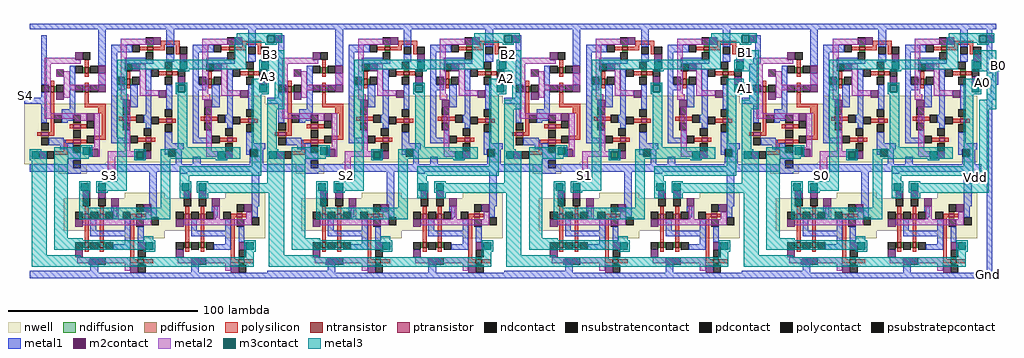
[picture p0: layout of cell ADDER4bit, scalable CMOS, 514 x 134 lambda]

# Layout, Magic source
magic
tech scmos
<< nwell >>
rect 125 68 623 92
rect 125 64 168 68
rect 174 67 294 68
rect 297 67 418 68
rect 422 67 623 68
rect 174 64 293 67
rect 300 64 418 67
rect 423 65 623 67
rect 422 64 623 65
rect 125 61 623 64
rect 125 60 137 61
<< metal1 >>
rect 632 133 635 134
rect 134 102 137 128
rect 254 116 256 120
rect 253 104 255 108
rect 259 102 262 128
rect 379 117 381 120
rect 378 104 380 107
rect 384 102 387 128
rect 509 124 513 128
rect 504 117 506 120
rect 510 116 513 124
rect 509 113 513 116
rect 507 102 512 113
rect 632 111 635 131
rect 632 108 638 111
rect 635 105 638 108
rect 628 102 631 105
rect 634 102 638 105
rect 125 95 128 98
rect 125 94 129 95
rect 507 94 510 102
rect 634 97 637 102
rect 632 94 637 97
rect 125 93 128 94
rect 125 92 129 93
rect 623 50 628 57
rect 632 0 635 94
<< metal2 >>
rect 169 53 173 67
rect 294 53 297 64
rect 419 53 422 64
rect 544 53 548 67
<< metal3 >>
rect 637 109 639 114
rect 634 105 637 108
rect 503 98 507 103
rect 632 94 637 97
use ADDER1bit  ADDER1bit_1
transform 1 0 170 0 1 60
box -42 -60 92 74
use ADDER1bit  ADDER1bit_2
transform 1 0 295 0 1 60
box -42 -60 92 74
use ADDER1bit  ADDER1bit_3
transform 1 0 420 0 1 60
box -42 -60 92 74
use ADDER1bit  ADDER1bit_4
transform 1 0 545 0 1 60
box -42 -60 92 74
<< labels >>
rlabel metal1 633 2 633 2 8 Gnd
rlabel space 4 93 4 93 3 S4
rlabel metal1 626 53 626 53 1 Vdd
rlabel metal2 545 54 545 54 1 S0
rlabel metal2 170 54 170 54 1 S3
rlabel metal2 420 54 420 54 1 S1
rlabel metal2 295 54 295 54 1 S2
rlabel metal3 638 112 638 112 7 B0
rlabel metal1 630 103 630 103 1 A0
rlabel metal3 505 100 505 100 1 A1
rlabel metal1 379 105 379 105 1 A2
rlabel metal1 380 118 380 118 1 B2
rlabel metal1 255 118 255 118 1 B3
rlabel metal1 254 106 254 106 1 A3
rlabel metal1 126 96 126 96 1 S4
rlabel metal1 505 119 505 119 1 B1
<< end >>

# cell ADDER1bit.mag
magic
tech scmos
<< nwell >>
rect -3 1 12 32
rect 28 4 36 8
rect 28 3 37 4
rect 38 1 54 36
rect 21 -22 25 -19
rect 26 -35 37 -18
rect 28 -39 29 -35
<< metal1 >>
rect -42 71 92 74
rect -6 58 -2 71
rect 30 70 34 71
rect 73 62 77 66
rect -42 32 -36 35
rect 35 0 38 8
rect 78 4 81 8
rect 44 0 48 4
rect 74 0 81 4
rect -42 -4 84 0
rect 21 -22 25 -4
rect 37 -5 41 -4
rect 75 -22 79 -4
rect -11 -53 -7 -50
rect -42 -57 -10 -56
rect -42 -60 92 -57
<< m2contact >>
rect 87 64 91 68
<< metal2 >>
rect -1 4 9 7
<< m3contact >>
rect 83 64 87 68
<< metal3 >>
rect 67 68 91 69
rect 67 67 83 68
rect 66 64 83 67
rect 87 64 91 68
rect 66 55 72 64
rect 82 63 88 64
rect 4 50 72 55
rect -41 -48 -33 7
rect -29 3 -11 9
rect -29 -39 -22 3
rect 4 -9 9 50
rect 80 49 92 60
rect 36 9 41 38
rect 75 37 84 45
rect 36 8 69 9
rect -16 -23 -11 -9
rect -6 -14 9 -9
rect 27 3 69 8
rect 27 -23 32 3
rect 75 -1 80 37
rect 87 34 92 49
rect 37 -6 80 -1
rect 83 29 92 34
rect 37 -18 42 -6
rect 83 -10 88 29
rect 47 -15 88 -10
rect 47 -18 52 -15
rect -16 -29 32 -23
rect -29 -40 -14 -39
rect 18 -40 23 -38
rect -29 -45 23 -40
rect -41 -49 -15 -48
rect 71 -49 76 -41
rect -41 -54 76 -49
use OR  OR_0
transform -1 0 -13 0 -1 10
box -11 -49 29 15
use XOR  XOR_1
transform 0 1 13 1 0 12
box -11 -12 59 29
use XOR  XOR_0
transform 0 1 56 1 0 12
box -11 -12 59 29
use AND  AND_0
transform -1 0 -7 0 -1 -24
box -36 -15 17 33
use AND  AND_1
transform -1 0 46 0 -1 -24
box -36 -15 17 33
<< labels >>
rlabel metal3 88 57 88 57 1 in2
rlabel metal1 -40 34 -40 34 3 Cout
rlabel metal2 1 5 1 5 1 Sout
rlabel metal1 86 72 86 72 5 Gnd
rlabel metal3 87 66 87 66 1 CIn
rlabel metal1 78 -59 78 -59 8 Gnd
rlabel metal1 81 -2 81 -2 1 Vdd
<< end >>

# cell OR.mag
magic
tech scmos
<< nwell >>
rect -1 10 14 15
rect -11 -22 29 10
<< ntransistor >>
rect -2 -31 0 -28
rect 16 -31 18 -28
rect -2 -41 0 -38
<< ptransistor >>
rect 2 -3 6 -1
rect 19 -7 23 -5
rect 2 -11 6 -9
<< ndiffusion >>
rect -3 -31 -2 -28
rect 0 -31 1 -28
rect 15 -31 16 -28
rect 18 -31 19 -28
rect -3 -41 -2 -38
rect 0 -41 1 -38
<< pdiffusion >>
rect 2 -1 6 0
rect 2 -4 6 -3
rect 19 -5 23 -4
rect 2 -9 6 -8
rect 2 -12 6 -11
rect 19 -8 23 -7
<< ndcontact >>
rect -7 -32 -3 -28
rect 1 -32 5 -28
rect 11 -32 15 -28
rect 19 -32 23 -28
rect -7 -42 -3 -38
rect 1 -42 5 -38
<< pdcontact >>
rect 2 0 6 4
rect 2 -8 6 -4
rect 19 -4 23 0
rect 2 -16 6 -12
rect 19 -12 23 -8
<< psubstratepcontact >>
rect 11 -40 15 -36
<< nsubstratencontact >>
rect 2 8 6 12
<< polysilicon >>
rect 9 3 16 5
rect 9 -1 11 3
rect -11 -5 -5 -3
rect -1 -3 2 -1
rect 6 -3 11 -1
rect -11 -17 -9 -5
rect 16 -7 19 -5
rect 23 -7 25 -5
rect -1 -11 2 -9
rect 6 -11 8 -9
rect -11 -20 -7 -17
rect -11 -22 0 -20
rect -2 -28 0 -22
rect 16 -28 18 -7
rect -2 -33 0 -31
rect 16 -34 18 -31
rect -2 -38 0 -36
rect -2 -45 0 -41
<< polycontact >>
rect 16 3 20 7
rect -5 -5 -1 -1
rect -5 -13 -1 -9
rect 12 -16 16 -12
rect -3 -49 1 -45
<< metal1 >>
rect 2 12 9 15
rect 6 8 9 12
rect 2 4 9 8
rect 6 2 9 4
rect 6 0 13 2
rect 6 -1 19 0
rect 10 -3 19 -1
rect 11 -4 19 -3
rect 9 -13 12 -12
rect 6 -16 12 -13
rect 5 -19 12 -16
rect -11 -38 -7 -32
rect 5 -42 8 -19
rect 20 -28 23 -12
rect -11 -49 -7 -42
<< m2contact >>
rect -7 2 -3 6
rect 20 3 24 7
rect -5 -17 -1 -13
rect -11 -32 -7 -28
rect -11 -42 -7 -38
rect 11 -28 15 -24
rect 1 -49 5 -45
<< metal2 >>
rect -8 2 -7 6
rect -3 5 -2 6
rect -8 1 -3 2
rect -8 -17 -5 1
rect -1 -14 5 -13
rect -1 -17 21 -14
rect 8 -29 11 -25
rect -7 -32 11 -29
rect -11 -38 -7 -32
rect 8 -36 11 -32
rect 8 -39 15 -36
rect 11 -40 15 -39
rect 18 -43 21 -17
rect 2 -45 21 -43
rect 5 -46 21 -45
<< m3contact >>
rect -3 1 1 5
rect 24 3 28 7
<< metal3 >>
rect 23 7 29 8
rect -4 5 2 6
rect -4 1 -3 5
rect 1 1 2 5
rect 23 3 24 7
rect 28 3 29 7
rect 23 2 29 3
rect -4 0 2 1
<< labels >>
rlabel metal1 22 -24 22 -24 1 out
rlabel m3contact 26 5 26 5 6 in1
rlabel metal1 4 13 4 13 5 Vdd
rlabel metal1 -9 -46 -9 -46 2 Gnd
rlabel m3contact -1 3 -1 3 1 in2
<< end >>

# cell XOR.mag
magic
tech scmos
<< nwell >>
rect -11 -12 24 26
<< ntransistor >>
rect 35 17 37 20
rect 48 7 50 10
rect 30 -4 33 -2
<< ptransistor >>
rect 10 17 12 20
rect 0 6 2 9
rect 11 -6 13 -3
<< ndiffusion >>
rect 34 17 35 20
rect 37 17 38 20
rect 47 7 48 10
rect 50 7 51 10
rect 30 -2 33 -1
rect 30 -5 33 -4
<< pdiffusion >>
rect 9 17 10 20
rect 12 17 13 20
rect -1 6 0 9
rect 2 6 3 9
rect 10 -6 11 -3
rect 13 -6 14 -3
<< ndcontact >>
rect 30 16 34 20
rect 38 16 42 20
rect 43 6 47 10
rect 51 6 55 10
rect 30 -1 34 3
rect 30 -9 34 -5
<< pdcontact >>
rect 5 16 9 20
rect 13 16 17 20
rect -5 5 -1 9
rect 3 5 7 9
rect 6 -6 10 -2
rect 14 -6 18 -2
<< psubstratepcontact >>
rect 46 17 50 21
<< nsubstratencontact >>
rect -8 18 -4 22
<< polysilicon >>
rect 10 20 12 22
rect 35 20 37 23
rect 46 22 53 24
rect 10 13 12 17
rect 35 13 37 17
rect 51 16 53 22
rect 48 14 53 16
rect 0 9 2 11
rect 48 10 50 14
rect 0 2 2 6
rect 48 3 50 7
rect 11 -3 13 1
rect 28 -4 30 -2
rect 33 -4 37 -2
rect 11 -8 13 -6
<< polycontact >>
rect 34 23 38 27
rect 46 24 50 28
rect 9 9 13 13
rect 34 9 38 13
rect -1 -2 3 2
rect 10 1 14 5
rect 47 -1 51 3
rect 37 -5 41 -1
<< metal1 >>
rect -4 20 -1 26
rect -4 18 5 20
rect -7 16 5 18
rect 17 17 30 20
rect 42 17 46 21
rect 50 17 59 21
rect 7 6 38 9
rect 41 6 43 10
rect 10 5 14 6
rect 18 -2 30 2
rect -1 -5 6 -2
rect -1 -9 2 -5
rect 41 -5 44 6
rect 27 -9 30 -5
rect 47 -9 51 -1
rect -1 -12 51 -9
<< m2contact >>
rect 30 23 34 27
rect 42 24 46 28
rect 23 13 27 17
rect 51 10 55 14
rect -9 5 -5 9
rect 37 -1 41 3
rect 18 -6 22 -2
<< metal2 >>
rect 24 6 27 13
rect 24 3 41 6
rect -8 -2 -5 1
rect -8 -5 18 -2
rect 22 -4 25 -3
rect 51 -4 54 10
rect 22 -7 54 -4
<< m3contact >>
rect 26 23 30 27
rect 38 24 42 28
rect -9 1 -5 5
<< metal3 >>
rect 37 28 43 29
rect 25 27 31 28
rect 25 23 26 27
rect 30 23 31 27
rect 37 24 38 28
rect 42 24 43 28
rect 37 23 43 24
rect 25 22 31 23
rect -10 5 -4 6
rect -10 1 -9 5
rect -5 1 -4 5
rect -10 0 -4 1
<< labels >>
rlabel metal1 -3 24 -3 24 5 Vdd
rlabel m3contact 27 25 27 25 5 in1
rlabel m3contact 40 26 40 26 5 in2
rlabel metal1 56 19 56 19 7 Gnd
rlabel m3contact -7 3 -7 3 3 out
<< end >>

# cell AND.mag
magic
tech scmos
<< nwell >>
rect -36 11 -15 15
rect -36 -6 17 11
rect -36 -9 -15 -6
<< ntransistor >>
rect -25 26 -22 28
rect -4 17 -2 20
rect 4 17 6 20
<< ptransistor >>
rect -24 2 -21 4
rect -4 2 -2 5
rect 4 2 6 5
<< ndiffusion >>
rect -25 28 -22 29
rect -25 25 -22 26
rect -5 17 -4 20
rect -2 17 -1 20
rect 3 17 4 20
rect 6 17 7 20
<< pdiffusion >>
rect -24 4 -21 5
rect -24 1 -21 2
rect -5 2 -4 5
rect -2 2 -1 5
rect 3 2 4 5
rect 6 2 7 5
<< ndcontact >>
rect -26 29 -22 33
rect -26 21 -22 25
rect -9 17 -5 21
rect -1 17 3 21
rect 7 17 11 21
<< pdcontact >>
rect -25 5 -21 9
rect -9 1 -5 5
rect -25 -3 -21 1
rect -1 1 3 5
rect 7 1 11 5
<< psubstratepcontact >>
rect -5 25 -1 29
<< nsubstratencontact >>
rect -33 4 -29 8
<< polysilicon >>
rect -30 26 -25 28
rect -22 26 -18 28
rect -20 4 -18 26
rect -4 20 -2 22
rect 4 20 6 22
rect -4 5 -2 17
rect 4 5 6 17
rect -26 2 -24 4
rect -21 2 -18 4
rect -4 -2 -2 2
rect 4 -2 6 2
<< polycontact >>
rect -18 1 -14 5
rect -5 -6 -1 -2
rect 3 -6 7 -2
<< metal1 >>
rect -1 29 3 33
rect -25 9 -22 17
rect -18 18 -9 21
rect -18 14 -15 18
rect -18 11 3 14
rect -18 5 -15 11
rect 0 5 3 11
rect -32 -2 -29 4
rect -10 4 -9 5
rect -11 1 -9 4
rect -11 -2 -8 1
<< m2contact >>
rect -22 29 -18 33
rect -1 25 3 29
rect 7 21 11 25
rect -26 17 -22 21
rect 7 5 11 9
rect -29 -3 -25 1
rect -12 -6 -8 -2
rect -5 -10 -1 -6
rect 3 -10 7 -6
<< metal2 >>
rect -18 28 -15 32
rect -18 25 -1 28
rect 3 25 10 28
rect -29 5 7 8
rect -29 1 -26 5
rect -12 -2 -9 5
<< m3contact >>
rect -30 17 -26 21
rect -5 -14 -1 -10
rect 4 -14 8 -10
<< metal3 >>
rect -31 21 -25 22
rect -31 17 -30 21
rect -26 17 -25 21
rect -31 16 -25 17
rect -6 -10 0 -9
rect -6 -14 -5 -10
rect -1 -14 0 -10
rect -6 -15 0 -14
rect 3 -10 9 -9
rect 3 -14 4 -10
rect 8 -14 9 -10
rect 3 -15 9 -14
<< labels >>
rlabel m3contact -28 19 -28 19 1 out
rlabel metal1 -31 1 -31 1 3 Vdd
rlabel metal1 1 31 1 31 5 Gnd
rlabel m3contact -3 -12 -3 -12 1 in1
rlabel m3contact 5 -12 5 -12 1 in2
<< end >>
